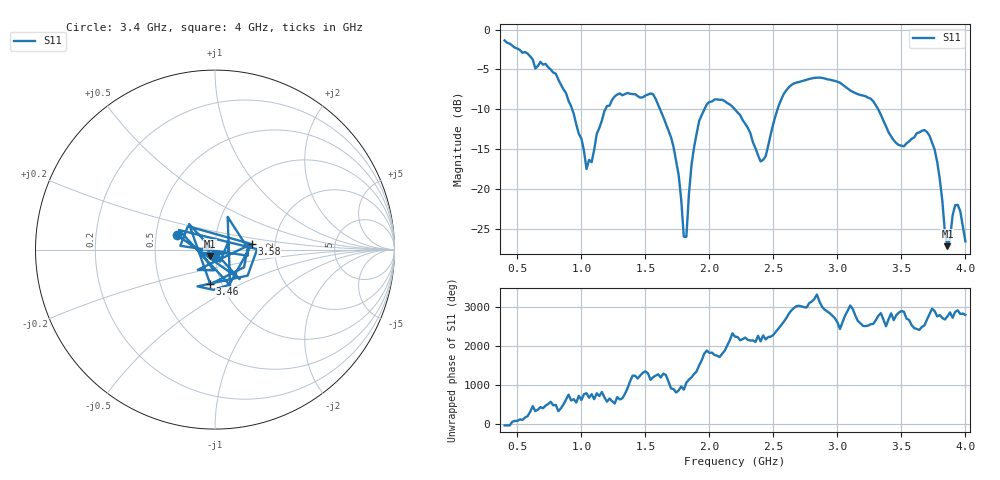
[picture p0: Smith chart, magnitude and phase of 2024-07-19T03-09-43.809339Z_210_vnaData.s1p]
!Created with skrf (http://scikit-rf.org).
# Hz S RI R 50.0
!freq ReS11 ImS11
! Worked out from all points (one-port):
!   181 points, 400 MHz to 4 GHz, reference 50 ohm
!   lowest |S11| = -27.1 dB at 3.86 GHz (marker M1), VSWR 1.09, Z = 47.3 - j3.32 ohm
!   |S11| at or under -10 dB: 1.615 GHz to 1.961 GHz (345.3 MHz wide, 19.3 % of centre); 2.199 GHz to 2.532 GHz (332.6 MHz wide, 14.1 % of centre); 3.319 GHz to end of sweep (the widest 3 of 4)
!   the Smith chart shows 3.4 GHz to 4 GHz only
!   S11 on the Smith chart (normalised r, x): 3.4 GHz: 0.64, +0.11; 3.46 GHz: 0.88, -0.35; 3.58 GHz: 1.51, +0.10; 4 GHz: 1.00, -0.09
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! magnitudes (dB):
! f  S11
! 400 MHz  -1.4
! 860 MHz  -7.5
! 1.04 GHz  -17.5
! 1.18 GHz  -10.2
! 1.3 GHz  -8.0
! 1.56 GHz  -8.1
! 1.7 GHz  -13.5
! 1.76 GHz  -18.2
! 1.8 GHz  -25.9
! 1.82 GHz  -25.9
! 1.86 GHz  -17.0
! 1.92 GHz  -11.4
! 2.04 GHz  -8.8
! 2.2 GHz  -10.0
! 2.4 GHz  -16.5
! 2.56 GHz  -8.8
! 2.66 GHz  -6.7
! 3.1 GHz  -7.6
! 3.28 GHz  -9.0
! 3.4 GHz  -12.9
! 3.46 GHz  -14.2
! 3.56 GHz  -14.0
! 3.58 GHz  -13.7
! 3.68 GHz  -12.6
! 3.76 GHz  -15.0
! 3.86 GHz  -27.1
! 3.92 GHz  -22.0
! 4 GHz  -26.5
